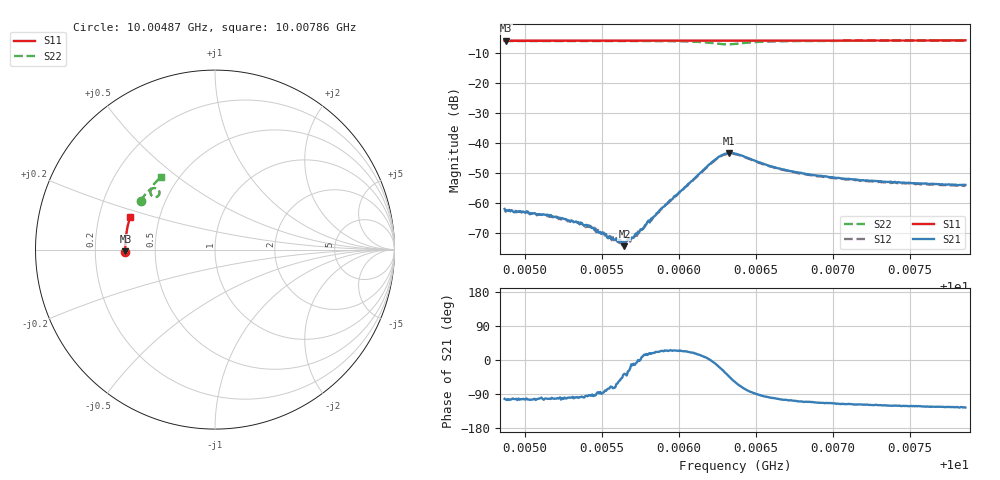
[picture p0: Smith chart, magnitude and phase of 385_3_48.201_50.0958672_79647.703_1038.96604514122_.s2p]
#  HZ  S  RI  R  50.00
! Rohde & Schwarz Vector Network Analyzer
! Rohde-Schwarz,ZNB20-2Port,1311601062101988,3.16
! Created: UTC 3/20/2024, 11:53:17 AM
! freq[Hz]  re:S11  im:S11  re:S21  im:S21  re:S12  im:S12  re:S22  im:S22
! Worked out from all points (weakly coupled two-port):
!   401 points, 10.00487 GHz to 10.00786 GHz, reference 50 ohm
!   highest |S21| = -43.34 dB at 10.00633 GHz (marker M1); lowest = -74.3 dB at 10.00564 GHz (marker M2)
!   lowest |S11| = -6.0 dB at 10.00487 GHz (marker M3), VSWR 2.99, Z = 16.7 - j0.466 ohm
!   |S11| at or under -10 dB: nowhere
!   |S22| runs from -7.2 to -6.0 dB; largest |S21 - S12| = 0.0004
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1.0004866e10  -0.4992 -0.0109  -0.000173 -0.000784  -0.000113 -0.000755  -0.4139 0.2697
1.0004874e10  -0.4992 -0.0105  -0.000181 -0.000716  -0.000134 -0.000707  -0.4138 0.2702
1.0005158e10  -0.4999 0.00809  -0.000127 -0.000591  -9.25e-05 -0.000585  -0.4033 0.287
1.0005368e10  -0.4998 0.0218  -5.28e-05 -0.000467  -2.68e-05 -0.00045  -0.3948 0.2995
1.0005435e10  -0.4998 0.0261  -5.48e-06 -0.000386  9.03e-06 -0.00037  -0.3919 0.3034
1.000545e10  -0.4998 0.0271  -1.48e-05 -0.000359  7.45e-06 -0.000391  -0.3911 0.3044
1.000557e10  -0.4996 0.0348  6.91e-05 -0.000249  0.0001 -0.000254  -0.3854 0.3117
1.0005608e10  -0.4994 0.0373  0.000122 -0.000186  0.000138 -0.000215  -0.3835 0.314
1.000563e10  -0.4994 0.0387  0.000136 -0.000147  0.000167 -0.000159  -0.3823 0.3153
1.0005645e10  -0.4993 0.0395  0.000155 -0.000114  0.000169 -0.000136  -0.3815 0.3162
1.0005712e10  -0.4991 0.0441  0.000286 -6.57e-05  0.000279 -2.15e-05  -0.3778 0.3205
1.000575e10  -0.4989 0.0465  0.000369 8.71e-06  0.000341 4e-05  -0.3755 0.3229
1.0005765e10  -0.4989 0.0474  0.000371 6.34e-05  0.000359 8.87e-05  -0.3745 0.3238
1.000587e10  -0.4982 0.0541  0.00068 0.000272  0.000648 0.00029  -0.3671 0.3307
1.0006221e10  -0.4958 0.0767  0.00495 -0.000447  0.00486 -0.000188  -0.3139 0.3313
1.0006274e10  -0.4952 0.08  0.00569 -0.00246  0.00569 -0.0021  -0.3092 0.3135
1.0006326e10  -0.4946 0.0831  0.00488 -0.00475  0.00499 -0.00441  -0.3199 0.2961
1.0006364e10  -0.4945 0.0854  0.00351 -0.00564  0.00373 -0.00537  -0.3333 0.2921
1.0006626e10  -0.4923 0.1021  -0.000784 -0.00386  -0.000583 -0.00381  -0.3586 0.3314
1.0006865e10  -0.4894 0.1175  -0.00104 -0.00273  -0.000949 -0.00273  -0.3482 0.3533
1.0007367e10  -0.4819 0.1489  -0.00113 -0.00195  -0.00102 -0.00195  -0.3231 0.3829
1.0007861e10  -0.4725 0.1791  -0.00116 -0.00164  -0.00104 -0.00164  -0.2981 0.4056
